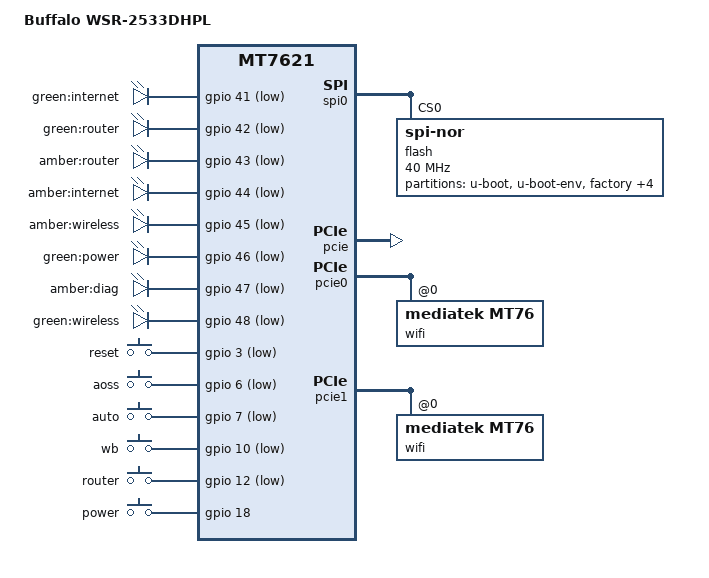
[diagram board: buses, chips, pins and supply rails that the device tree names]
// SPDX-License-Identifier: GPL-2.0-or-later OR MIT

#include "mt7621.dtsi"

#include <dt-bindings/gpio/gpio.h>
#include <dt-bindings/input/input.h>

/ {
	compatible = "buffalo,wsr-2533dhpl", "mediatek,mt7621-soc";
	model = "Buffalo WSR-2533DHPL";

	aliases {
		led-boot = &led_power;
		led-failsafe = &led_diag;
		led-running = &led_power;
		led-upgrade = &led_power;
		label-mac-device = &gmac0;
	};

	leds {
		compatible = "gpio-leds";

		internet_green {
			label = "green:internet";
			gpios = <&gpio 41 GPIO_ACTIVE_LOW>;
		};

		router_green {
			label = "green:router";
			gpios = <&gpio 42 GPIO_ACTIVE_LOW>;
		};

		router_amber {
			label = "amber:router";
			gpios = <&gpio 43 GPIO_ACTIVE_LOW>;
		};

		internet_amber {
			label = "amber:internet";
			gpios = <&gpio 44 GPIO_ACTIVE_LOW>;
		};

		wireless_amber {
			label = "amber:wireless";
			gpios = <&gpio 45 GPIO_ACTIVE_LOW>;
		};

		led_power: power {
			label = "green:power";
			gpios = <&gpio 46 GPIO_ACTIVE_LOW>;
		};

		led_diag: diag {
			label = "amber:diag";
			gpios = <&gpio 47 GPIO_ACTIVE_LOW>;
		};

		wireless_green {
			label = "green:wireless";
			gpios = <&gpio 48 GPIO_ACTIVE_LOW>;
		};
	};

	keys {
		compatible = "gpio-keys";

		reset {
			label = "reset";
			gpios = <&gpio 3 GPIO_ACTIVE_LOW>;
			linux,code = <KEY_RESTART>;
		};

		aoss {
			label = "aoss";
			gpios = <&gpio 6 GPIO_ACTIVE_LOW>;
			linux,code = <KEY_WPS_BUTTON>;
		};

		auto {
			label = "auto";
			gpios = <&gpio 7 GPIO_ACTIVE_LOW>;
			linux,code = <BTN_0>;
			linux,input-type = <EV_SW>;
		};

		bridge {
			label = "wb";
			gpios = <&gpio 10 GPIO_ACTIVE_LOW>;
			linux,code = <BTN_1>;
			linux,input-type = <EV_SW>;
		};

		router {
			label = "router";
			gpios = <&gpio 12 GPIO_ACTIVE_LOW>;
			linux,code = <BTN_1>;
			linux,input-type = <EV_SW>;
		};

		power {
			label = "power";
			gpios = <&gpio 18 GPIO_ACTIVE_HIGH>;
			linux,code = <KEY_POWER>;
		};
	};
};

&spi0 {
	status = "okay";

	flash@0 {
		compatible = "jedec,spi-nor";
		reg = <0>;
		spi-max-frequency = <40000000>;

		partitions {
			compatible = "fixed-partitions";
			#address-cells = <1>;
			#size-cells = <1>;

			partition@0 {
				label = "u-boot";
				reg = <0x0 0x30000>;
				read-only;
			};

			partition@30000 {
				label = "u-boot-env";
				reg = <0x30000 0x10000>;
				read-only;
			};

			factory: partition@40000 {
				label = "factory";
				reg = <0x40000 0x10000>;
				read-only;
			};

			partition@50000 {
				compatible = "openwrt,trx";
				label = "firmware";
				reg = <0x50000 0x7c0000>;
			};

			partition@810000 {
				label = "Kernel2";
				reg = <0x810000 0x7c0000>;
				read-only;
			};

			partition@fd0000 {
				label = "glbcfg";
				reg = <0xfd0000 0x010000>;
				read-only;
			};

			partition@fe0000 {
				label = "board_data";
				reg = <0xfe0000 0x20000>;
				read-only;
			};
		};
	};
};

&gmac0 {
	mtd-mac-address = <&factory 0x4>;
	mtd-mac-address-increment = <(-1)>;
};

&switch0 {
	ports {
		port@0 {
			status = "okay";
			label = "wan";
		};

		port@1 {
			status = "okay";
			label = "lan4";
		};

		port@2 {
			status = "okay";
			label = "lan3";
		};

		port@3 {
			status = "okay";
			label = "lan2";
		};

		port@4 {
			status = "okay";
			label = "lan1";
		};
	};
};

&pcie {
	status = "okay";
};

&pcie0 {
	wifi@0,0 {
		compatible = "mediatek,mt76";
		reg = <0x0000 0 0 0 0>;
		mediatek,mtd-eeprom = <&factory 0x0000>;
		ieee80211-freq-limit = <2400000 2500000>;
	};
};

&pcie1 {
	wifi@0,0 {
		compatible = "mediatek,mt76";
		reg = <0x0000 0 0 0 0>;
		mediatek,mtd-eeprom = <&factory 0x8000>;
		ieee80211-freq-limit = <5000000 6000000>;
	};
};

&state_default {
	gpio {
		groups = "i2c", "uart2", "uart3", "wdt", "sdhci";
		function = "gpio";
	};
};

&xhci {
	status = "disabled";
};
